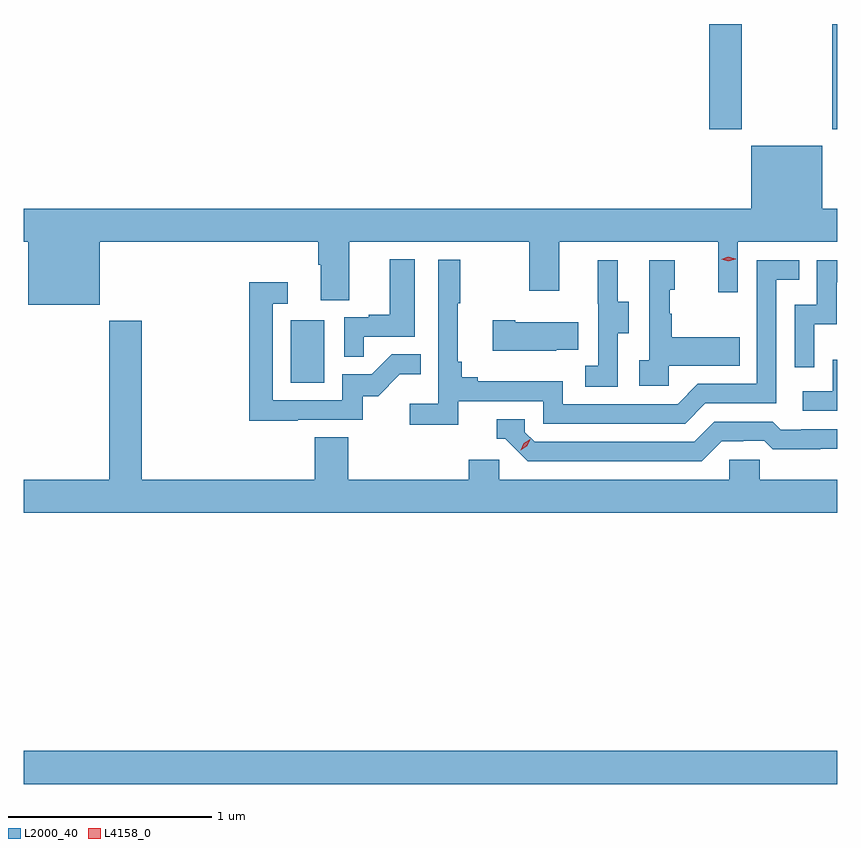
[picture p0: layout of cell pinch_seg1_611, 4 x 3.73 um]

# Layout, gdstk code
import gdstk
lib = gdstk.Library(unit=1e-6, precision=1e-09)
def R(c, l, rs):  # rectangles x0, y0, x1, y1
    for r in rs: c.add(gdstk.rectangle(r[:2], r[2:], *l))
def P(c, l, *ps):  # polygons
    for p in ps: c.add(gdstk.Polygon(p, *l))
L2000_40 = (2000, 40)
L4158_0 = (4158, 0)

pinch_seg1_611 = lib.new_cell('pinch_seg1_611')
R(pinch_seg1_611, L2000_40, [(1077.092,510.44,1081.092,510.604), (1078.406,512.412,1078.57,512.719), (1080.461,513.657,1080.621,514.175), (1081.066,513.657,1081.092,514.175)])
P(pinch_seg1_611, L2000_40, [(1077.092,513.104),(1077.116,513.104),(1077.116,512.795),(1077.466,512.795),(1077.466,513.104),(1078.541,513.104),(1078.541,512.992),(1078.553,512.992),(1078.553,512.818),(1078.693,512.818),(1078.693,513.104),(1079.578,513.104),(1079.578,512.865),(1079.725,512.865),(1079.725,513.104),(1080.506,513.104),(1080.506,512.856),(1080.603,512.856),(1080.603,513.104),(1081.092,513.104),(1081.092,513.268),(1081.018,513.268),(1081.018,513.577),(1080.668,513.577),(1080.668,513.268),(1077.092,513.268)],
  [(1078.763,512.637),(1079.014,512.637),(1079.014,513.019),(1078.892,513.019),(1078.892,512.746),(1078.789,512.746),(1078.789,512.733),(1078.668,512.733),(1078.668,512.539),(1078.763,512.539)],
  [(1079.228,512.322),(1079.646,512.322),(1079.646,512.211),(1080.343,512.211),(1080.442,512.31),(1080.792,512.31),(1080.792,512.919),(1080.905,512.919),(1080.905,513.015),(1080.696,513.015),(1080.696,512.406),(1080.405,512.406),(1080.306,512.307),(1079.742,512.307),(1079.742,512.419),(1079.323,512.419),(1079.323,512.438),(1079.246,512.438),(1079.246,512.515),(1079.227,512.515),(1079.227,512.803),(1079.239,512.803),(1079.239,513.016),(1079.13,513.016),(1079.13,512.308),(1078.989,512.308),(1078.989,512.206),(1079.228,512.206)],
  [(1080.978,512.699),(1081.088,512.699),(1081.088,512.907),(1081.092,512.907),(1081.092,513.015),(1080.99,513.015),(1080.99,512.796),(1080.882,512.796),(1080.882,512.487),(1080.978,512.487)],
  [(1080.012,512.656),(1080.067,512.656),(1080.067,512.811),(1080.013,512.811),(1080.013,513.013),(1079.915,513.013),(1079.915,512.799),(1079.916,512.799),(1079.916,512.495),(1079.853,512.495),(1079.853,512.392),(1080.012,512.392)],
  [(1080.264,512.495),(1080.611,512.495),(1080.611,512.635),(1080.277,512.635),(1080.277,512.75),(1080.267,512.75),(1080.267,512.868),(1080.292,512.868),(1080.292,513.013),(1080.168,513.013),(1080.168,512.522),(1080.117,512.522),(1080.117,512.397),(1080.264,512.397)],
  [(1078.439,512.229),(1078.758,512.229),(1078.758,512.346),(1078.834,512.346),(1078.941,512.453),(1079.045,512.453),(1079.045,512.552),(1078.902,512.552),(1078.804,512.454),(1078.659,512.454),(1078.659,512.325),(1078.317,512.325),(1078.317,512.799),(1078.39,512.799),(1078.39,512.905),(1078.201,512.905),(1078.201,512.224),(1078.439,512.224)],
  [(1079.711,512.573),(1079.819,512.573),(1079.819,512.71),(1079.509,512.71),(1079.509,512.718),(1079.397,512.718),(1079.397,512.57),(1079.711,512.57)],
  [(1081.092,511.936),(1080.711,511.936),(1080.711,512.034),(1080.561,512.034),(1080.561,511.936),(1079.43,511.936),(1079.43,512.034),(1079.279,512.034),(1079.279,511.936),(1078.688,511.936),(1078.688,512.144),(1078.523,512.144),(1078.523,511.936),(1077.674,511.936),(1077.674,512.716),(1077.514,512.716),(1077.514,511.936),(1077.092,511.936),(1077.092,511.772),(1081.092,511.772)],
  [(1081.092,512.524),(1081.068,512.524),(1081.068,512.37),(1080.921,512.37),(1080.921,512.274),(1081.092,512.274)],
  [(1080.523,512.124),(1080.63,512.124),(1080.63,512.127),(1080.733,512.127),(1080.775,512.085),(1081.008,512.085),(1081.008,512.087),(1081.092,512.087),(1081.092,512.184),(1080.913,512.184),(1080.913,512.181),(1080.814,512.181),(1080.775,512.22),(1080.486,512.22),(1080.387,512.121),(1079.604,512.121),(1079.556,512.169),(1079.556,512.232),(1079.417,512.232),(1079.417,512.136),(1079.46,512.136),(1079.571,512.025),(1080.424,512.025)])
P(pinch_seg1_611, L4158_0, [(1079.535,512.081),(1079.535,512.081),(1079.551,512.114),(1079.581,512.134),(1079.581,512.134),(1079.581,512.133),(1079.566,512.101),(1079.536,512.081)],
  [(1080.556,513.01),(1080.521,513.02),(1080.52,513.02),(1080.521,513.02),(1080.556,513.03),(1080.592,513.021),(1080.592,513.021),(1080.592,513.02)])

lib.write_gds('pinch_seg1_611.gds')
